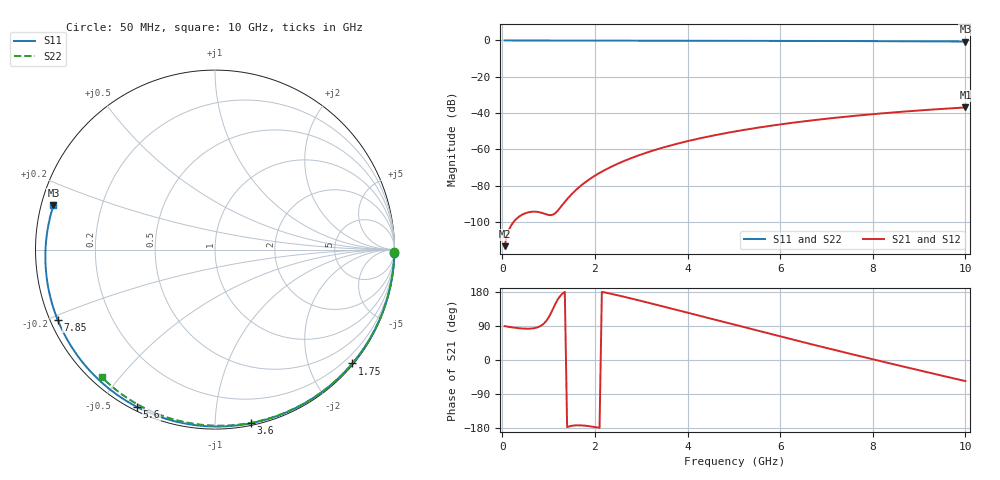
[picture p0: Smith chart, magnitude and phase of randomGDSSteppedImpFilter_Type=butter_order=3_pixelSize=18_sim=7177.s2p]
! freq	dB(S11)	phase(S11)	dB(S12)	phase(S12)
!  dB(S21)	phase(S21)	dB(S22)	phase(S22)
!S-par simulation data
#  GHz  S  DB  R 50
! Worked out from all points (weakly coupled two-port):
!   200 points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, 50 MHz to 10 GHz, reference 50 ohm
!   highest |S21| = -36.94 dB at 10 GHz (marker M1); lowest = -113.4 dB at 50 MHz (marker M2)
!   lowest |S11| = -0.6 dB at 10 GHz (marker M3), VSWR 29.02, Z = 1.75 + j6.69 ohm
!   |S11| at or under -10 dB: nowhere
!   |S22| runs from -0.4 to 0.0 dB; largest |S21 - S12| = 0
!   S11 on the Smith chart (normalised r, x): 50 MHz: 0, -98; 1.75 GHz: 0.03, -2.78; 3.6 GHz: 0.02, -1.23; 5.6 GHz: 0.02, -0.62; 7.85 GHz: 0.02, -0.21; 10 GHz: 0.04, +0.13
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0.05  -0.00 -1.2  -113.39 89.3  -113.39 89.3  -0.00 -0.8
0.45  -0.01 -10.4  -95.76 82.9  -95.76 82.9  -0.01 -6.8
0.85  -0.02 -19.5  -95.01 91.6  -95.01 91.6  -0.02 -12.8
1.25  -0.04 -28.5  -92.22 168.8  -92.22 168.8  -0.02 -18.8
1.7  -0.05 -38.5  -79.99 -172.5  -79.99 -172.5  -0.03 -25.5
1.75  -0.05 -39.6  -78.97 -172.9  -78.97 -172.9  -0.03 -26.2
2.05  -0.06 -46.2  -73.78 -178.0  -73.78 -178.0  -0.04 -30.6
2.25  -0.06 -50.5  -70.94 177.3  -70.94 177.3  -0.04 -33.5
2.45  -0.07 -54.8  -68.45 171.9  -68.45 171.9  -0.05 -36.4
2.9  -0.08 -64.2  -63.75 158.9  -63.75 158.9  -0.06 -42.8
3.4  -0.10 -74.4  -59.57 143.5  -59.57 143.5  -0.07 -49.9
3.6  -0.10 -78.4  -58.12 137.3  -58.12 137.3  -0.07 -52.7
4.3  -0.13 -92.1  -53.77 115.3  -53.77 115.3  -0.09 -62.3
5.05  -0.16 -106.3  -50.04 91.7  -50.04 91.7  -0.11 -72.2
5.6  -0.19 -116.3  -47.76 74.6  -47.76 74.6  -0.13 -79.3
6.15  -0.22 -126.2  -45.76 57.6  -45.76 57.6  -0.15 -86.3
6.7  -0.26 -135.9  -44.01 40.8  -44.01 40.8  -0.18 -93.1
7.3  -0.31 -146.4  -42.33 22.7  -42.33 22.7  -0.21 -100.3
7.85  -0.36 -156.0  -40.97 6.4  -40.97 6.4  -0.25 -106.8
8.35  -0.41 -164.9  -39.86 -8.3  -39.86 -8.3  -0.29 -112.7
9.2  -0.50 179.8  -38.23 -32.9  -38.23 -32.9  -0.36 -122.4
10  -0.60 164.7  -36.94 -55.7  -36.94 -55.7  -0.45 -131.5
